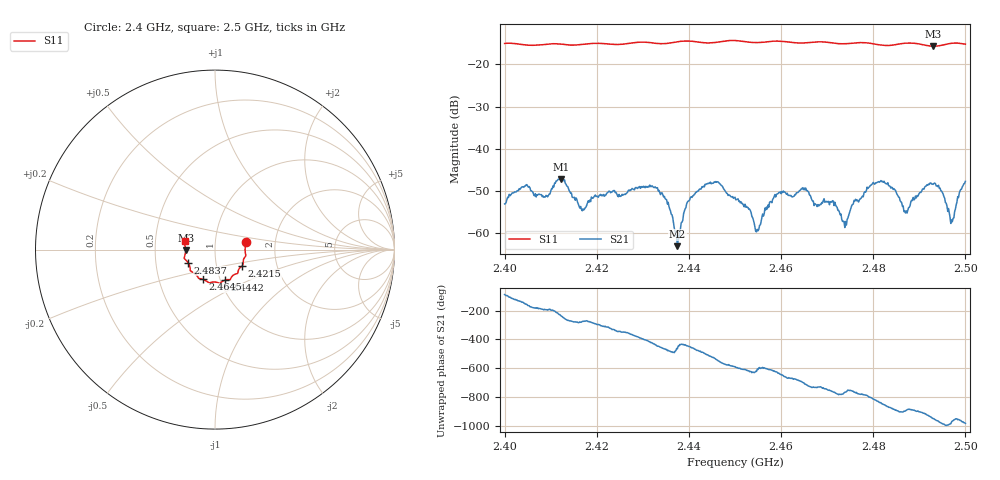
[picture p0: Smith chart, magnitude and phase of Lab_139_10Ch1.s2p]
# Hz S RI R 50
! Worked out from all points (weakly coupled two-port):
!   601 points, 2.4 GHz to 2.5 GHz, reference 50 ohm
!   highest |S21| = -47.15 dB at 2.4123 GHz (marker M1); lowest = -63.1 dB at 2.4375 GHz (marker M2)
!   lowest |S11| = -15.7 dB at 2.493 GHz (marker M3), VSWR 1.39, Z = 35.9 - j0.216 ohm
!   |S11| at or under -10 dB: start of sweep to end of sweep
!   S12 and S22 are empty: the file has one direction only
!   S11 on the Smith chart (normalised r, x): 2.4 GHz: 1.41, +0.12; 2.4215 GHz: 1.33, -0.25; 2.4442 GHz: 1.05, -0.37; 2.4645 GHz: 0.83, -0.29; 2.4837 GHz: 0.73, -0.11; 2.5 GHz: 0.71, +0.07
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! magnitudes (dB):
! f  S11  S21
! 2.4 GHz  -15.1  -53.1
! 2.4123 GHz  -15.2  -47.1
! 2.4167 GHz  -15.3  -54.3
! 2.4215 GHz  -15.1  -50.8
! 2.4333 GHz  -15.1  -50.0
! 2.4375 GHz  -14.7  -63.1
! 2.44 GHz  -14.5  -52.3
! 2.4442 GHz  -15.0  -48.1
! 2.45 GHz  -14.4  -51.5
! 2.4548 GHz  -14.9  -59.1
! 2.459 GHz  -14.5  -50.8
! 2.4645 GHz  -15.0  -49.5
! 2.4667 GHz  -14.8  -52.1
! 2.4713 GHz  -15.0  -52.4
! 2.4738 GHz  -15.1  -58.6
! 2.4795 GHz  -15.1  -48.6
! 2.4833 GHz  -15.6  -48.7
! 2.4837 GHz  -15.5  -48.9
! 2.4872 GHz  -15.0  -54.7
! 2.493 GHz  -15.7  -48.4
! 2.497 GHz  -15.0  -56.8
! 2.5 GHz  -15.3  -47.7
